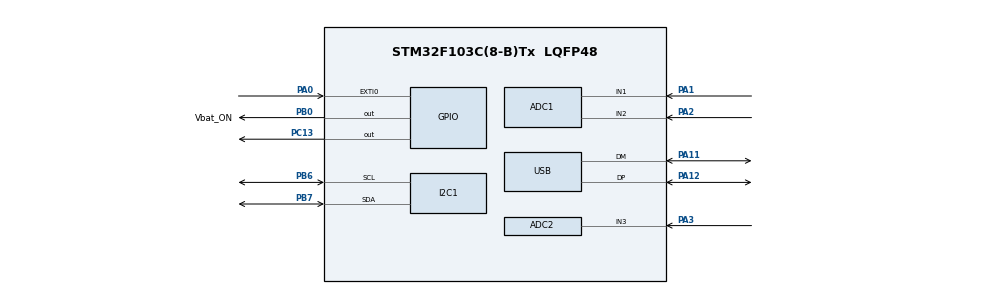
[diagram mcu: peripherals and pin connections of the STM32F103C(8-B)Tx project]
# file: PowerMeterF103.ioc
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ADC1.Channel-0\#ChannelRegularConversion=ADC_CHANNEL_1
ADC1.Channel-1\#ChannelRegularConversion=ADC_CHANNEL_2
ADC1.DiscontinuousConvMode=ENABLE
ADC1.ExternalTrigConv=ADC_EXTERNALTRIGCONV_T1_CC1
ADC1.NbrOfConversion=2
ADC1.NbrOfConversionFlag=1
ADC1.NbrOfDiscConversion=2
ADC1.Rank-0\#ChannelRegularConversion=1
ADC1.Rank-1\#ChannelRegularConversion=2
ADC1.SamplingTime-0\#ChannelRegularConversion=ADC_SAMPLETIME_239CYCLES_5
ADC1.SamplingTime-1\#ChannelRegularConversion=ADC_SAMPLETIME_239CYCLES_5
ADC1.master=1
ADC2.Channel-1\#ChannelRegularConversion=ADC_CHANNEL_3
ADC2.NbrOfConversionFlag=1
ADC2.Rank-1\#ChannelRegularConversion=1
ADC2.SamplingTime-1\#ChannelRegularConversion=ADC_SAMPLETIME_239CYCLES_5
Dma.ADC1.0.Direction=DMA_PERIPH_TO_MEMORY
Dma.ADC1.0.Instance=DMA1_Channel1
Dma.ADC1.0.MemDataAlignment=DMA_MDATAALIGN_HALFWORD
Dma.ADC1.0.MemInc=DMA_MINC_ENABLE
Dma.ADC1.0.Mode=DMA_CIRCULAR
Dma.ADC1.0.PeriphDataAlignment=DMA_PDATAALIGN_HALFWORD
Dma.ADC1.0.PeriphInc=DMA_PINC_DISABLE
Dma.ADC1.0.Priority=DMA_PRIORITY_LOW
Dma.Request0=ADC1
I2C1.I2C_Mode=I2C_Fast
Mcu.Family=STM32F1
Mcu.Name=STM32F103C(8-B)Tx
Mcu.Package=LQFP48
NVIC.DMA1_Channel1_IRQn=true\:0\:0\:false\:false\:true\:false\:true
NVIC.EXTI0_IRQn=true\:0\:0\:false\:false\:true\:true\:true
NVIC.PriorityGroup=NVIC_PRIORITYGROUP_4
NVIC.USB_LP_CAN1_RX0_IRQn=true\:0\:0\:false\:false\:true\:false\:true
PA0-WKUP.GPIO_PuPd=GPIO_PULLDOWN
PA0-WKUP.Signal=GPXTI0
PA1.Signal=ADCx_IN1
PA11.Mode=Device
PA11.Signal=USB_DM
PA12.Mode=Device
PA12.Signal=USB_DP
PA13.Mode=Serial_Wire
PA13.Signal=SYS_JTMS-SWDIO
PA14.Mode=Serial_Wire
PA14.Signal=SYS_JTCK-SWCLK
PA2.Signal=ADCx_IN2
PA3.Signal=ADCx_IN3
PB0.GPIO_Label=Vbat_ON
PB0.GPIO_PuPd=GPIO_PULLDOWN
PB0.Signal=GPIO_Output
PB6.Mode=I2C
PB6.Signal=I2C1_SCL
PB7.Mode=I2C
PB7.Signal=I2C1_SDA
PC13-TAMPER-RTC.Signal=GPIO_Output
PD0-OSC_IN.Mode=HSE-External-Oscillator
PD0-OSC_IN.Signal=RCC_OSC_IN
PD1-OSC_OUT.Mode=HSE-External-Oscillator
PD1-OSC_OUT.Signal=RCC_OSC_OUT
ProjectManager.HeapSize=0x200
ProjectManager.StackSize=0x400
ProjectManager.TargetToolchain=STM32CubeIDE
RCC.ADCPresc=RCC_ADCPCLK2_DIV8
RCC.AHBFreq_Value=72000000
RCC.APB1CLKDivider=RCC_HCLK_DIV2
RCC.APB1Freq_Value=36000000
RCC.APB1TimFreq_Value=72000000
RCC.APB2Freq_Value=72000000
RCC.APB2TimFreq_Value=72000000
RCC.HCLKFreq_Value=72000000
RCC.PLLMUL=RCC_PLL_MUL9
RCC.PLLSourceVirtual=RCC_PLLSOURCE_HSE
RCC.SYSCLKFreq_VALUE=72000000
RCC.SYSCLKSource=RCC_SYSCLKSOURCE_PLLCLK
RCC.USBFreq_Value=48000000
RCC.USBPrescaler=RCC_USBCLKSOURCE_PLL_DIV1_5
SH.ADCx_IN1.0=ADC1_IN1,IN1
SH.ADCx_IN2.0=ADC1_IN2,IN2
SH.ADCx_IN3.0=ADC2_IN3,IN3
TIM1.AutomaticOutput=TIM_AUTOMATICOUTPUT_ENABLE
TIM1.Channel-Output\ Compare1\ No\ Output=TIM_CHANNEL_1
TIM1.OCMode_1=TIM_OCMODE_TOGGLE
TIM1.Period=1
TIM1.Prescaler=17999
TIM1.TIM_MasterOutputTrigger=TIM_TRGO_OC1REF
USB_DEVICE.CLASS_NAME_FS=CDC
USB_DEVICE.PRODUCT_STRING_CDC_FS=STM32 PowerMeter
USB_DEVICE.VirtualMode=Cdc
USB_DEVICE.VirtualModeFS=Cdc_FS
VP_TIM1_VS_ClockSourceINT.Mode=Internal
VP_TIM1_VS_no_output1.Mode=Output Compare1 No Output
VP_USB_DEVICE_VS_USB_DEVICE_CDC_FS.Mode=CDC_FS
board=custom

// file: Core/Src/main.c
/* USER CODE BEGIN Header */
/**
  ******************************************************************************
  * @file           : main.c
  * @brief          : Main program body
  ******************************************************************************
  * @attention
  *
  * <h2><center>&copy; Copyright (c) 2020 STMicroelectronics.
  * All rights reserved.</center></h2>
  *
  * This software component is licensed by ST under BSD 3-Clause license,
  * the "License"; You may not use this file except in compliance with the
  * License. You may obtain a copy of the License at:
  *                        opensource.org/licenses/BSD-3-Clause
  *
  ******************************************************************************
  */
/* USER CODE END Header */
#include "main.h"
#include "adc.h"
#include "dma.h"
#include "i2c.h"
#include "tim.h"
#include "usb_device.h"
#include "gpio.h"

/* USER CODE BEGIN Includes */
#include <stdbool.h>
#include "ssd1306.h"
#include "usbd_cdc_if.h"

#define RES_DEVIDER 0.5	//coef devider for Vbat
#define SAMPLES 4000	//sample count (2 channels, 2 seconds)
#define R_SHUNT 0.2		//shunt resistance
#define V_REF 3300	//reference voltage ADC
#define HIGH_C 10	//high current IN amp coef
#define LOW_C 10000	//low current IN amp coef

#define  LOW_PR (float)(V_REF/4095/LOW_C/R_SHUNT)
#define  HIGH_PR (float)(V_REF/4095/HIGH_C/R_SHUNT)
/* USER CODE END Includes */

/* USER CODE BEGIN PTD */
typedef struct{
	uint32_t Count;
	float Summ;
	float Zero_Level;
	float Current;
}ADC_Channel;

ADC_Channel HIGH_Amp, LOW_Amp;
uint16_t ADC_RAW[SAMPLES] = {0};
/*PA1 - high current IN
Imin = 0,000857 A = 0,857 mA
Imax = 3,5106 A

PA2 - low corrent IN
Imin = 0,0004028 mA = 402,8 nA
Imax = 0,00165 A = 1,65 mA*/

volatile bool FT_flag;
volatile bool HT_flag;
volatile uint8_t DSP_flag = 0;

float ACT_current = 0;
float MAX_current = 0;
float MIN_current = 0;
float mAh_consumed = 0;
float MAX_current_ALLTime = 0;

uint32_t lowmax,highmax;

unsigned int Time_seconds = 0;
uint8_t 	Clock_Days = 0;
uint8_t		Clock_Hours = 0;
uint8_t		Clock_Minutes = 0;
uint8_t		Clock_Seconds = 0;
/* USER CODE END PTD */

void SystemClock_Config(void);
/* USER CODE BEGIN PFP */
void Device_CFG(void);
void Amp_Calibration(void);
void Display_Data(void);
void Power_Calc(uint16_t start_sample);
/* USER CODE END PFP */

int main(void)
{

  /* MCU Configuration--------------------------------------------------------*/

  /* Reset of all peripherals, Initializes the Flash interface and the Systick. */
  HAL_Init();

  /* Configure the system clock */
  SystemClock_Config();

  /* Initialize all configured peripherals */
  MX_GPIO_Init();
  MX_DMA_Init();
  MX_ADC1_Init();
  MX_I2C1_Init();
  MX_TIM1_Init();
  MX_USB_DEVICE_Init();
  MX_ADC2_Init();
  /* USER CODE BEGIN 2 */
  Device_CFG();
  /* USER CODE END 2 */

  /* Infinite loop */
  /* USER CODE BEGIN WHILE */
  while (1)
  {
	  if(FT_flag){
		  Power_Calc((uint16_t) SAMPLES/2);
		  Display_Data();
		  FT_flag = 0;
	  }

	  if(HT_flag){
		  Power_Calc((uint16_t) 0);
		  Display_Data();
		  HT_flag = 0;
	  }
    /* USER CODE END WHILE */

  }
}

void SystemClock_Config(void)
{
  LL_FLASH_SetLatency(LL_FLASH_LATENCY_2);
  while(LL_FLASH_GetLatency()!= LL_FLASH_LATENCY_2)
  {
  }
  LL_RCC_HSE_Enable();

   /* Wait till HSE is ready */
  while(LL_RCC_HSE_IsReady() != 1)
  {

  }
  LL_RCC_PLL_ConfigDomain_SYS(LL_RCC_PLLSOURCE_HSE_DIV_1, LL_RCC_PLL_MUL_9);
  LL_RCC_PLL_Enable();

   /* Wait till PLL is ready */
  while(LL_RCC_PLL_IsReady() != 1)
  {

  }
  LL_RCC_SetAHBPrescaler(LL_RCC_SYSCLK_DIV_1);
  LL_RCC_SetAPB1Prescaler(LL_RCC_APB1_DIV_2);
  LL_RCC_SetAPB2Prescaler(LL_RCC_APB2_DIV_1);
  LL_RCC_SetSysClkSource(LL_RCC_SYS_CLKSOURCE_PLL);

   /* Wait till System clock is ready */
  while(LL_RCC_GetSysClkSource() != LL_RCC_SYS_CLKSOURCE_STATUS_PLL)
  {

  }
  LL_SetSystemCoreClock(72000000);

   /* Update the time base */
  if (HAL_InitTick (TICK_INT_PRIORITY) != HAL_OK)
  {
    Error_Handler();
  }
  LL_RCC_SetADCClockSource(LL_RCC_ADC_CLKSRC_PCLK2_DIV_8);
  LL_RCC_SetUSBClockSource(LL_RCC_USB_CLKSOURCE_PLL_DIV_1_5);
}

/* USER CODE BEGIN 4 */
void EXTI0_IRQHandler(void)
{
  /* USER CODE BEGIN EXTI0_IRQn 0 */

  /* USER CODE END EXTI0_IRQn 0 */
  if (LL_EXTI_IsActiveFlag_0_31(LL_EXTI_LINE_0) != RESET)
  {
    LL_EXTI_ClearFlag_0_31(LL_EXTI_LINE_0);
    /* USER CODE BEGIN LL_EXTI_LINE_0 */
    MAX_current = 0;
    MIN_current = 0;
    ACT_current = 0;
    mAh_consumed = 0;
	Time_seconds = 0;
	MAX_current_ALLTime = 0;
	Clock_Days = Clock_Hours = Clock_Minutes = Clock_Seconds = 0;
    /* USER CODE END LL_EXTI_LINE_0 */
  }
  /* USER CODE BEGIN EXTI0_IRQn 1 */

  /* USER CODE END EXTI0_IRQn 1 */
}

void Power_Calc(uint16_t start_sample)
{
	HIGH_Amp.Summ = LOW_Amp.Summ = 0;
	HIGH_Amp.Count = LOW_Amp.Count = 0;
	MIN_current = MAX_current = 0;

	uint16_t MIN_low = 4095, MAX_low = 0;
	uint16_t MIN_high = 4095, MAX_high = 0;

	for(int i = start_sample;i < (start_sample + SAMPLES/2); i+=2){
		if(ADC_RAW[i] > 4094){//проверяем слаботочный вход на "зашкаливание"
			//зашкалило - используемый высокотоковый сэмпл, если выше шума на входе
			HIGH_Amp.Summ += (float)ADC_RAW[i+1];
			HIGH_Amp.Count++;
		}
		else{//не зашкалило - используем слаботочный сэмпл
			LOW_Amp.Summ += (float)ADC_RAW[i];
			LOW_Amp.Count++;
		}

		//ищем минимальные и максимальные значения для каналов
		if(MIN_low > ADC_RAW[i])
			MIN_low = ADC_RAW[i];
		if(MAX_low < ADC_RAW[i] && ADC_RAW[i] < 4096)
			MAX_low = ADC_RAW[i];
		if(MIN_high > ADC_RAW[i+1])
			MIN_high = ADC_RAW[i+1];
		if(MAX_high < ADC_RAW[i+1] && ADC_RAW[i+1] > (uint16_t)(HIGH_Amp.Zero_Level))
			MAX_high = ADC_RAW[i+1];
	}
	HIGH_Amp.Summ -=  (uint32_t)(HIGH_Amp.Zero_Level * (float)HIGH_Amp.Count);
	LOW_Amp.Summ -= (uint32_t)(LOW_Amp.Zero_Level * (float)LOW_Amp.Count);
	lowmax = LOW_Amp.Count;
	highmax = HIGH_Amp.Count;

	ACT_current = (float)((float)LOW_Amp.Summ/LOW_C + (float)HIGH_Amp.Summ/HIGH_C) * V_REF / (SAMPLES/4) / R_SHUNT / 4095.f;//mV

	if(MIN_low/1000.f < MIN_high)
		MIN_current = MIN_low * LOW_PR;
	else
		MIN_current = MIN_high * HIGH_PR;

	if(MAX_low == 4095)
		MAX_current = MAX_high * HIGH_PR;
	else
		MAX_current = MAX_low * LOW_PR;
}

void Display_Data(void)
{
	Time_seconds++;
	Clock_Seconds++;
	if(Clock_Seconds%60 == 0){
		Clock_Minutes++;
		Clock_Seconds = 0;
		if(Clock_Minutes%60 ==0){
			Clock_Hours++;
			Clock_Minutes = 0;
			if(Clock_Hours%24 == 0){
				Clock_Days++;
				Clock_Hours = 0;
			}
		}
	}
	mAh_consumed += ACT_current;

	uint16_t Vbat = 0;
	LL_GPIO_SetOutputPin(Vbat_ON_GPIO_Port, Vbat_ON_Pin);
	LL_ADC_REG_StartConversionSWStart(ADC2);
	while(LL_ADC_IsActiveFlag_EOS(ADC2)==0);
	Vbat = LL_ADC_REG_ReadConversionData12(ADC2);
	Vbat = (uint16_t)(__LL_ADC_CALC_DATA_TO_VOLTAGE((uint32_t) V_REF, Vbat, LL_ADC_RESOLUTION_12B) / RES_DEVIDER);
	LL_GPIO_ResetOutputPin(Vbat_ON_GPIO_Port, Vbat_ON_Pin);

	if(DSP_flag != 0){
		SSD1306_Fill(SSD1306_COLOR_BLACK);
		SSD1306_GotoXY(0,0);
		char time_str[25] = {'\0'};
		sprintf(time_str,"D:%1i H:%02i M:%02i S:%02i", (int)Clock_Days,(int)Clock_Hours,(int)Clock_Minutes,(int)Clock_Seconds);
		SSD1306_Puts(time_str,&Font_7x10,SSD1306_COLOR_WHITE);

		SSD1306_GotoXY(0,16);
		char Curr_str[20] = {'\0'};
		sprintf(Curr_str,"%.6f mA",ACT_current);
		SSD1306_Puts(Curr_str,&Font_7x10,SSD1306_COLOR_WHITE);

		SSD1306_GotoXY(0,26);
		char mAh_str[20]  = {'\0'};
		SSD1306_GotoXY(0,26);
		sprintf(mAh_str,"%.6f aver.",(float)(mAh_consumed/Time_seconds));
		SSD1306_Puts(mAh_str,&Font_7x10,SSD1306_COLOR_WHITE);

		SSD1306_GotoXY(0,36);
		char mAh_con_str[20]  = {'\0'};
		sprintf(mAh_con_str,"%.6f mAh",(float)(mAh_consumed/3600));
		SSD1306_Puts(mAh_con_str,&Font_7x10,SSD1306_COLOR_WHITE);

		SSD1306_GotoXY(0,48);
		char max_curr_str[20]  = {'\0'};
		sprintf(max_curr_str,"%.6f mA",(float)(MAX_current));
		SSD1306_Puts(max_curr_str,&Font_7x10,SSD1306_COLOR_WHITE);
		SSD1306_UpdateScreen();
	}

	if(MAX_current_ALLTime < MAX_current)
		MAX_current_ALLTime = MAX_current;

	char USB_string[100];
	sprintf(USB_string,"start %u %u %u %u %u %u %u stop\r\n",
			(unsigned int)Time_seconds,				//seconds
			(unsigned int)(MIN_current*1000000.f),	//nA
			(unsigned int)(ACT_current*1000000.f),	//nA
			(unsigned int)((float)mAh_consumed/3.6),		//mkAh
			(unsigned int)(MAX_current*1000000.f),	//nA
			(unsigned int)(MAX_current_ALLTime*1000000.f),//nA
			(unsigned int)Vbat);						//mV
	CDC_Transmit_FS((unsigned char*)&USB_string,(uint16_t)strlen(USB_string));
	LL_GPIO_TogglePin(GPIOC, LL_GPIO_PIN_13);
}

void Amp_Calibration(void)
{
	DSP_flag = SSD1306_Init();
	if(DSP_flag != 0){
		SSD1306_GotoXY(22,32);
		SSD1306_Puts("Calibration",&Font_7x10,SSD1306_COLOR_WHITE);
		SSD1306_UpdateScreen();
	}

	uint32_t HIGH_noise = 0;
	uint32_t LOW_noise = 0;
	for(int i = 0; i<2;i++){
		while(!FT_flag){
		}
		for(int j = 0;j<SAMPLES;j+=2){
			LOW_noise += ADC_RAW[j];
			HIGH_noise += ADC_RAW[j+1];
		}
		FT_flag = 0;
	}
	HIGH_Amp.Zero_Level = (float)((float)HIGH_noise/(float)SAMPLES);
	LOW_Amp.Zero_Level 	= (float)((float)LOW_noise/(float)SAMPLES);
}

void Device_CFG(void)
{
	LL_TIM_DisableCounter(TIM1);
	uint32_t calib_wait = 0;
	LL_DMA_DisableChannel(DMA1, LL_DMA_CHANNEL_1);
	LL_DMA_ConfigAddresses(DMA1,LL_DMA_CHANNEL_1,LL_ADC_DMA_GetRegAddr(ADC1, LL_ADC_DMA_REG_REGULAR_DATA),
												(uint32_t)&ADC_RAW, LL_DMA_DIRECTION_PERIPH_TO_MEMORY);
	LL_DMA_SetDataLength(DMA1, LL_DMA_CHANNEL_1, SAMPLES);
	LL_DMA_EnableIT_TC(DMA1, LL_DMA_CHANNEL_1);
	LL_DMA_EnableIT_HT(DMA1, LL_DMA_CHANNEL_1);
	LL_DMA_EnableIT_TE(DMA1, LL_DMA_CHANNEL_1);
	LL_ADC_REG_StartConversionExtTrig(ADC1,LL_ADC_REG_TRIG_EXT_RISING);

	LL_ADC_Enable(ADC1);
	calib_wait = ((LL_ADC_DELAY_ENABLE_CALIB_ADC_CYCLES * 32) >> 1);
	while(calib_wait != 0){
		calib_wait--;
	}
	LL_ADC_StartCalibration(ADC1);
	while (LL_ADC_IsCalibrationOnGoing(ADC1) != 0) {
	}
	LL_TIM_CC_EnableChannel(TIM1,LL_TIM_CHANNEL_CH1);
	LL_TIM_EnableCounter(TIM1);

	LL_ADC_Enable(ADC2);
	calib_wait = ((LL_ADC_DELAY_ENABLE_CALIB_ADC_CYCLES * 32) >> 1);
	while(calib_wait != 0){
		calib_wait--;
	}
	LL_ADC_StartCalibration(ADC2);
	while (LL_ADC_IsCalibrationOnGoing(ADC2) != 0) {
	}

	LL_ADC_Enable(ADC1);
	LL_mDelay(1);
	LL_DMA_EnableChannel(DMA1, LL_DMA_CHANNEL_1);
	Amp_Calibration();

	Time_seconds = 0;
	FT_flag = HT_flag = 0;
}
/* USER CODE END 4 */

void Error_Handler(void)
{
  __disable_irq();
  while (1)
  {
  }
}

/************************ (C) COPYRIGHT STMicroelectronics *****END OF FILE****/
